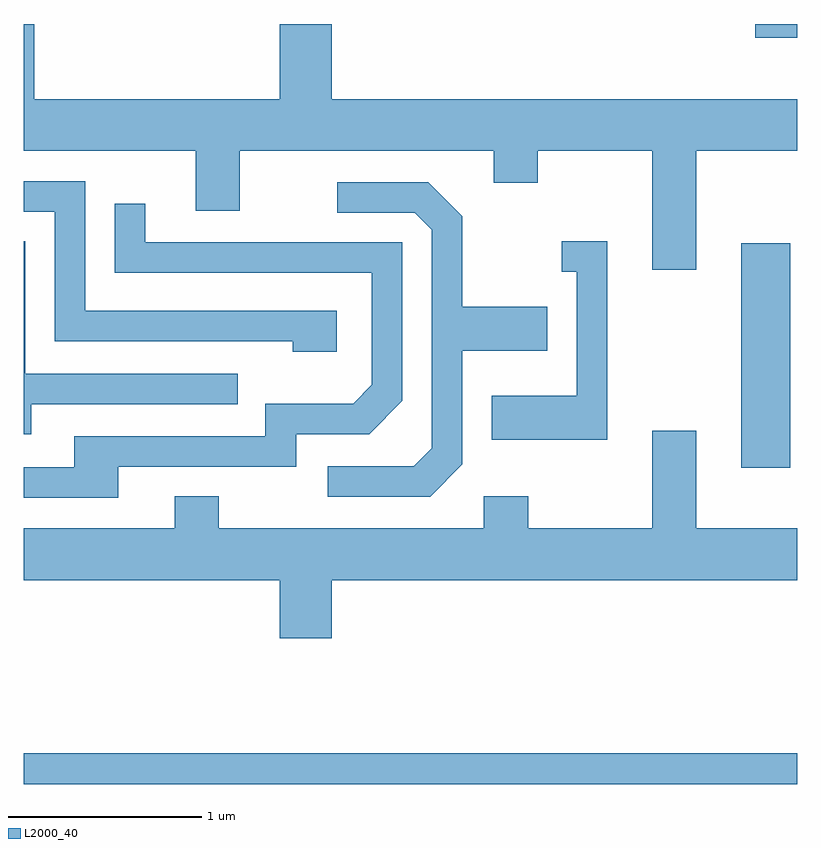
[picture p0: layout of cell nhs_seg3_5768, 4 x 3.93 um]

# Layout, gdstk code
import gdstk
lib = gdstk.Library(unit=1e-6, precision=1e-09)
def R(c, l, rs):  # rectangles x0, y0, x1, y1
    for r in rs: c.add(gdstk.rectangle(r[:2], r[2:], *l))
def P(c, l, *ps):  # polygons
    for p in ps: c.add(gdstk.Polygon(p, *l))
L2000_40 = (2000, 40)

nhs_seg3_5768 = lib.new_cell('nhs_seg3_5768')
R(nhs_seg3_5768, L2000_40, [(353.611,1235.961,357.611,1236.119), (357.321,1237.596,357.574,1238.759), (357.393,1239.821,357.611,1239.892)])
P(nhs_seg3_5768, L2000_40, [(357.089,1239.236),(357.611,1239.236),(357.611,1239.504),(355.204,1239.504),(355.204,1239.892),(354.936,1239.892),(354.936,1239.504),(353.664,1239.504),(353.664,1239.892),(353.611,1239.892),(353.611,1239.236),(354.501,1239.236),(354.501,1238.926),(354.729,1238.926),(354.729,1239.236),(356.041,1239.236),(356.041,1239.071),(356.269,1239.071),(356.269,1239.236),(356.861,1239.236),(356.861,1238.621),(357.089,1238.621)],
  [(355.229,1238.409),(353.929,1238.409),(353.929,1239.079),(353.611,1239.079),(353.611,1238.921),(353.771,1238.921),(353.771,1238.251),(355.001,1238.251),(355.001,1238.196),(355.229,1238.196)],
  [(355.879,1237.614),(355.879,1238.201),(356.319,1238.201),(356.319,1238.429),(355.879,1238.429),(355.879,1238.897),(355.702,1239.074),(355.233,1239.074),(355.233,1238.916),(355.634,1238.916),(355.721,1238.829),(355.721,1237.697),(355.629,1237.604),(355.183,1237.604),(355.183,1237.446),(355.712,1237.446)],
  [(354.099,1237.601),(355.019,1237.601),(355.019,1237.771),(355.397,1237.771),(355.569,1237.944),(355.569,1238.764),(354.239,1238.764),(354.239,1238.963),(354.081,1238.963),(354.081,1238.606),(355.411,1238.606),(355.411,1238.027),(355.314,1237.929),(354.861,1237.929),(354.861,1237.759),(353.871,1237.759),(353.871,1237.599),(353.611,1237.599),(353.611,1237.441),(354.099,1237.441)],
  [(356.629,1238.769),(356.393,1238.769),(356.393,1238.611),(356.471,1238.611),(356.471,1237.969),(356.031,1237.969),(356.031,1237.741),(356.629,1237.741)],
  [(353.649,1237.926),(354.718,1237.926),(354.718,1238.084),(353.619,1238.084),(353.619,1238.769),(353.611,1238.769),(353.611,1237.771),(353.649,1237.771)],
  [(355.204,1237.016),(357.611,1237.016),(357.611,1237.284),(357.089,1237.284),(357.089,1237.789),(356.861,1237.789),(356.861,1237.284),(356.219,1237.284),(356.219,1237.449),(355.991,1237.449),(355.991,1237.284),(354.619,1237.284),(354.619,1237.449),(354.391,1237.449),(354.391,1237.284),(353.611,1237.284),(353.611,1237.016),(354.936,1237.016),(354.936,1236.716),(355.204,1236.716)])

lib.write_gds('nhs_seg3_5768.gds')
